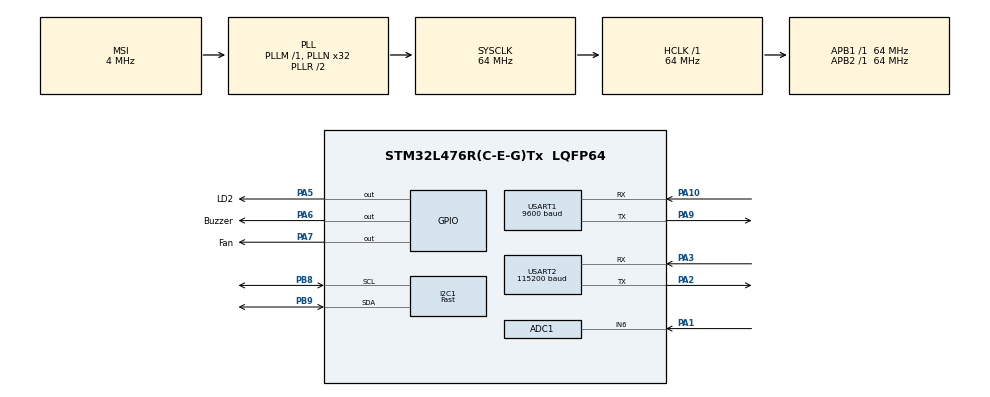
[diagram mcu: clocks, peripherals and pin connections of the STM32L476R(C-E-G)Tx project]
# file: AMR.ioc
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ADC1.Channel-0\#ChannelRegularConversion=ADC_CHANNEL_6
ADC1.ClockPrescaler=ADC_CLOCK_ASYNC_DIV64
ADC1.ContinuousConvMode=ENABLE
ADC1.NbrOfConversionFlag=1
ADC1.OffsetNumber-0\#ChannelRegularConversion=ADC_OFFSET_NONE
ADC1.Rank-0\#ChannelRegularConversion=1
ADC1.SamplingTime-0\#ChannelRegularConversion=ADC_SAMPLETIME_2CYCLES_5
ADC1.master=1
FREERTOS.Tasks01=defaultTask,24,256,StartDefaultTask,Default,NULL,Dynamic,NULL,NULL;NexDisplay,8,256,StartNexDisplay,Default,NULL,Dynamic,NULL,NULL;AccelGyro,8,256,StartAccelGyro,Default,NULL,Dynamic,NULL,NULL;VisEffect,8,256,StartVisEffect,Default,NULL,Dynamic,NULL,NULL;COMM,24,256,StartCOMM,Default,NULL,Dynamic,NULL,NULL
FREERTOS.configMINIMAL_STACK_SIZE=256
FREERTOS.configTOTAL_HEAP_SIZE=6000
FREERTOS.configUSE_NEWLIB_REENTRANT=1
I2C1.I2C_Speed_Mode=I2C_Fast
I2C1.Timing=0x00C12166
Mcu.Family=STM32L4
Mcu.Name=STM32L476R(C-E-G)Tx
Mcu.Package=LQFP64
NVIC.PriorityGroup=NVIC_PRIORITYGROUP_4
NVIC.TIM1_UP_TIM16_IRQn=true\:15\:0\:false\:false\:true\:false\:false\:true\:true
NVIC.TimeBase=TIM1_UP_TIM16_IRQn
NVIC.TimeBaseIP=TIM16
NVIC.USART2_IRQn=true\:5\:0\:false\:true\:true\:1\:true\:true\:true\:true
PA1.Signal=ADCx_IN6
PA10.Mode=Asynchronous
PA10.Signal=USART1_RX
PA13\ (JTMS-SWDIO).Mode=Serial_Wire
PA13\ (JTMS-SWDIO).Signal=SYS_JTMS-SWDIO
PA14\ (JTCK-SWCLK).Mode=Serial_Wire
PA14\ (JTCK-SWCLK).Signal=SYS_JTCK-SWCLK
PA2.Mode=Asynchronous
PA2.Signal=USART2_TX
PA3.Mode=Asynchronous
PA3.Signal=USART2_RX
PA5.GPIO_Label=LD2
PA5.Signal=GPIO_Output
PA6.GPIO_Label=Buzzer
PA6.Signal=GPIO_Output
PA7.GPIO_Label=Fan
PA7.Signal=GPIO_Output
PA9.Mode=Asynchronous
PA9.Signal=USART1_TX
PB8.Mode=I2C
PB8.Signal=I2C1_SCL
PB9.Mode=I2C
PB9.Signal=I2C1_SDA
ProjectManager.HeapSize=0x200
ProjectManager.StackSize=0x400
ProjectManager.TargetToolchain=STM32CubeIDE
RCC.ADCFreq_Value=64000000
RCC.AHBFreq_Value=64000000
RCC.APB1Freq_Value=64000000
RCC.APB1TimFreq_Value=64000000
RCC.APB2Freq_Value=64000000
RCC.APB2TimFreq_Value=64000000
RCC.CortexFreq_Value=64000000
RCC.HCLKFreq_Value=64000000
RCC.HSE_VALUE=8000000
RCC.HSI_VALUE=16000000
RCC.LSE_VALUE=32768
RCC.MSI_VALUE=4000000
RCC.PLLN=32
RCC.PLLSAI1N=32
RCC.SYSCLKFreq_VALUE=64000000
RCC.SYSCLKSource=RCC_SYSCLKSOURCE_PLLCLK
RCC.USBFreq_Value=64000000
RCC.VCOOutputFreq_Value=128000000
SH.ADCx_IN6.0=ADC1_IN6,IN6-Single-Ended
USART1.BaudRate=9600
USART1.VirtualMode-Asynchronous=VM_ASYNC
USART2.BaudRate=115200
USART2.VirtualMode-Asynchronous=VM_ASYNC
VP_FREERTOS_VS_CMSIS_V2.Mode=CMSIS_V2
VP_SYS_VS_tim16.Mode=TIM16
board=custom

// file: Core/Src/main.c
/* USER CODE BEGIN Header */
/**
  ******************************************************************************
  * @file           : main.c
  * @brief          : Main program body
  ******************************************************************************
  * @attention
  *
  * Copyright (c) 2024 STMicroelectronics.
  * All rights reserved.
  *
  * This software is licensed under terms that can be found in the LICENSE file
  * in the root directory of this software component.
  * If no LICENSE file comes with this software, it is provided AS-IS.
  *
  ******************************************************************************
  */
/* USER CODE END Header */
#include "main.h"
#include "cmsis_os.h"

/* USER CODE BEGIN Includes */
#include <stdio.h>
#include <string.h>
#include "mpu6050.h"
/* USER CODE END Includes */

ADC_HandleTypeDef hadc1;

I2C_HandleTypeDef hi2c1;

UART_HandleTypeDef huart1;
UART_HandleTypeDef huart2;

/* Definitions for defaultTask */
osThreadId_t defaultTaskHandle;
const osThreadAttr_t defaultTask_attributes = {
  .name = "defaultTask",
  .stack_size = 256 * 4,
  .priority = (osPriority_t) osPriorityNormal,
};
/* Definitions for NexDisplay */
osThreadId_t NexDisplayHandle;
const osThreadAttr_t NexDisplay_attributes = {
  .name = "NexDisplay",
  .stack_size = 256 * 4,
  .priority = (osPriority_t) osPriorityLow,
};
/* Definitions for AccelGyro */
osThreadId_t AccelGyroHandle;
const osThreadAttr_t AccelGyro_attributes = {
  .name = "AccelGyro",
  .stack_size = 256 * 4,
  .priority = (osPriority_t) osPriorityLow,
};
/* Definitions for VisEffect */
osThreadId_t VisEffectHandle;
const osThreadAttr_t VisEffect_attributes = {
  .name = "VisEffect",
  .stack_size = 256 * 4,
  .priority = (osPriority_t) osPriorityLow,
};
/* Definitions for COMM */
osThreadId_t COMMHandle;
const osThreadAttr_t COMM_attributes = {
  .name = "COMM",
  .stack_size = 256 * 4,
  .priority = (osPriority_t) osPriorityNormal,
};
/* USER CODE BEGIN PV */
uint8_t Fan_bit = 0;

uint8_t RxData[10] = { };
uint8_t Cmd_End[3] = {0xFF,0xFF,0xFF};

float voltage = 0.0;

uint8_t switchvar = 0;

MPU6050_t MPU6050;

HAL_StatusTypeDef status;

/* USER CODE END PV */

void SystemClock_Config(void);
static void MX_GPIO_Init(void);
static void MX_USART1_UART_Init(void);
static void MX_USART2_UART_Init(void);
static void MX_I2C1_Init(void);
static void MX_ADC1_Init(void);
void StartDefaultTask(void *argument);
void StartNexDisplay(void *argument);
void StartAccelGyro(void *argument);
void StartVisEffect(void *argument);
void StartCOMM(void *argument);

static void MX_NVIC_Init(void);

/* USER CODE BEGIN 0 */
void HAL_UART_RxCpltCallback(UART_HandleTypeDef *huart)
{
    UBaseType_t uxSavedInterruptStatus = taskENTER_CRITICAL_FROM_ISR();
    Fan_bit = RxData[0] - 48;

    HAL_UART_Receive_IT(&huart2, RxData, 1);
    taskEXIT_CRITICAL_FROM_ISR(uxSavedInterruptStatus);
}

void NEXTION_SendString (char *ID, char *string)
{
  uint8_t charbuffer[50] = { };
  sprintf((char *)charbuffer, "%s.txt=\"%s\"", ID, string);
  HAL_UART_Transmit (&huart1,(uint8_t *) charbuffer, strlen((const char *)charbuffer), HAL_MAX_DELAY);
  HAL_UART_Transmit (&huart1, Cmd_End, 3, HAL_MAX_DELAY);
}
/* USER CODE END 0 */

int main(void)
{

  /* MCU Configuration--------------------------------------------------------*/

  /* Reset of all peripherals, Initializes the Flash interface and the Systick. */
  HAL_Init();

  /* Configure the system clock */
  SystemClock_Config();

  /* Initialize all configured peripherals */
  MX_GPIO_Init();
  MX_USART1_UART_Init();
  MX_USART2_UART_Init();
  MX_I2C1_Init();
  MX_ADC1_Init();

  /* Initialize interrupts */
  MX_NVIC_Init();
  /* USER CODE BEGIN 2 */
  HAL_UART_Receive_IT(&huart2, RxData, 1);

  while (MPU6050_Init(&hi2c1) == 1);
  /* USER CODE END 2 */

  /* Init scheduler */
  osKernelInitialize();

  /* Create the thread(s) */
  /* creation of defaultTask */
  defaultTaskHandle = osThreadNew(StartDefaultTask, NULL, &defaultTask_attributes);

  /* creation of NexDisplay */
  NexDisplayHandle = osThreadNew(StartNexDisplay, NULL, &NexDisplay_attributes);

  /* creation of AccelGyro */
  AccelGyroHandle = osThreadNew(StartAccelGyro, NULL, &AccelGyro_attributes);

  /* creation of VisEffect */
  VisEffectHandle = osThreadNew(StartVisEffect, NULL, &VisEffect_attributes);

  /* creation of COMM */
  COMMHandle = osThreadNew(StartCOMM, NULL, &COMM_attributes);

  /* Start scheduler */
  osKernelStart();

  /* We should never get here as control is now taken by the scheduler */

  /* Infinite loop */
  while (1)
  {

  }
}

void SystemClock_Config(void)
{
  RCC_OscInitTypeDef RCC_OscInitStruct = {0};
  RCC_ClkInitTypeDef RCC_ClkInitStruct = {0};

  /** Configure the main internal regulator output voltage
  */
  if (HAL_PWREx_ControlVoltageScaling(PWR_REGULATOR_VOLTAGE_SCALE1) != HAL_OK)
  {
    Error_Handler();
  }

  /** Initializes the RCC Oscillators according to the specified parameters
  * in the RCC_OscInitTypeDef structure.
  */
  RCC_OscInitStruct.OscillatorType = RCC_OSCILLATORTYPE_MSI;
  RCC_OscInitStruct.MSIState = RCC_MSI_ON;
  RCC_OscInitStruct.MSICalibrationValue = 0;
  RCC_OscInitStruct.MSIClockRange = RCC_MSIRANGE_6;
  RCC_OscInitStruct.PLL.PLLState = RCC_PLL_ON;
  RCC_OscInitStruct.PLL.PLLSource = RCC_PLLSOURCE_MSI;
  RCC_OscInitStruct.PLL.PLLM = 1;
  RCC_OscInitStruct.PLL.PLLN = 32;
  RCC_OscInitStruct.PLL.PLLP = RCC_PLLP_DIV7;
  RCC_OscInitStruct.PLL.PLLQ = RCC_PLLQ_DIV2;
  RCC_OscInitStruct.PLL.PLLR = RCC_PLLR_DIV2;
  if (HAL_RCC_OscConfig(&RCC_OscInitStruct) != HAL_OK)
  {
    Error_Handler();
  }

  /** Initializes the CPU, AHB and APB buses clocks
  */
  RCC_ClkInitStruct.ClockType = RCC_CLOCKTYPE_HCLK|RCC_CLOCKTYPE_SYSCLK
                              |RCC_CLOCKTYPE_PCLK1|RCC_CLOCKTYPE_PCLK2;
  RCC_ClkInitStruct.SYSCLKSource = RCC_SYSCLKSOURCE_PLLCLK;
  RCC_ClkInitStruct.AHBCLKDivider = RCC_SYSCLK_DIV1;
  RCC_ClkInitStruct.APB1CLKDivider = RCC_HCLK_DIV1;
  RCC_ClkInitStruct.APB2CLKDivider = RCC_HCLK_DIV1;

  if (HAL_RCC_ClockConfig(&RCC_ClkInitStruct, FLASH_LATENCY_3) != HAL_OK)
  {
    Error_Handler();
  }
}

/**
  * @brief NVIC Configuration.
  * @retval None
  */
static void MX_NVIC_Init(void)
{
  /* USART2_IRQn interrupt configuration */
  HAL_NVIC_SetPriority(USART2_IRQn, 5, 0);
  HAL_NVIC_EnableIRQ(USART2_IRQn);
}

static void MX_ADC1_Init(void)
{

  ADC_MultiModeTypeDef multimode = {0};
  ADC_ChannelConfTypeDef sConfig = {0};

  /** Common config
  */
  hadc1.Instance = ADC1;
  hadc1.Init.ClockPrescaler = ADC_CLOCK_ASYNC_DIV64;
  hadc1.Init.Resolution = ADC_RESOLUTION_12B;
  hadc1.Init.DataAlign = ADC_DATAALIGN_RIGHT;
  hadc1.Init.ScanConvMode = ADC_SCAN_DISABLE;
  hadc1.Init.EOCSelection = ADC_EOC_SINGLE_CONV;
  hadc1.Init.LowPowerAutoWait = DISABLE;
  hadc1.Init.ContinuousConvMode = ENABLE;
  hadc1.Init.NbrOfConversion = 1;
  hadc1.Init.DiscontinuousConvMode = DISABLE;
  hadc1.Init.ExternalTrigConv = ADC_SOFTWARE_START;
  hadc1.Init.ExternalTrigConvEdge = ADC_EXTERNALTRIGCONVEDGE_NONE;
  hadc1.Init.DMAContinuousRequests = DISABLE;
  hadc1.Init.Overrun = ADC_OVR_DATA_PRESERVED;
  hadc1.Init.OversamplingMode = DISABLE;
  if (HAL_ADC_Init(&hadc1) != HAL_OK)
  {
    Error_Handler();
  }

  /** Configure the ADC multi-mode
  */
  multimode.Mode = ADC_MODE_INDEPENDENT;
  if (HAL_ADCEx_MultiModeConfigChannel(&hadc1, &multimode) != HAL_OK)
  {
    Error_Handler();
  }

  /** Configure Regular Channel
  */
  sConfig.Channel = ADC_CHANNEL_6;
  sConfig.Rank = ADC_REGULAR_RANK_1;
  sConfig.SamplingTime = ADC_SAMPLETIME_2CYCLES_5;
  sConfig.SingleDiff = ADC_SINGLE_ENDED;
  sConfig.OffsetNumber = ADC_OFFSET_NONE;
  sConfig.Offset = 0;
  if (HAL_ADC_ConfigChannel(&hadc1, &sConfig) != HAL_OK)
  {
    Error_Handler();
  }

}

static void MX_I2C1_Init(void)
{

  hi2c1.Instance = I2C1;
  hi2c1.Init.Timing = 0x00C12166;
  hi2c1.Init.OwnAddress1 = 0;
  hi2c1.Init.AddressingMode = I2C_ADDRESSINGMODE_7BIT;
  hi2c1.Init.DualAddressMode = I2C_DUALADDRESS_DISABLE;
  hi2c1.Init.OwnAddress2 = 0;
  hi2c1.Init.OwnAddress2Masks = I2C_OA2_NOMASK;
  hi2c1.Init.GeneralCallMode = I2C_GENERALCALL_DISABLE;
  hi2c1.Init.NoStretchMode = I2C_NOSTRETCH_DISABLE;
  if (HAL_I2C_Init(&hi2c1) != HAL_OK)
  {
    Error_Handler();
  }

  /** Configure Analogue filter
  */
  if (HAL_I2CEx_ConfigAnalogFilter(&hi2c1, I2C_ANALOGFILTER_ENABLE) != HAL_OK)
  {
    Error_Handler();
  }

  /** Configure Digital filter
  */
  if (HAL_I2CEx_ConfigDigitalFilter(&hi2c1, 0) != HAL_OK)
  {
    Error_Handler();
  }

}

static void MX_USART1_UART_Init(void)
{

  huart1.Instance = USART1;
  huart1.Init.BaudRate = 9600;
  huart1.Init.WordLength = UART_WORDLENGTH_8B;
  huart1.Init.StopBits = UART_STOPBITS_1;
  huart1.Init.Parity = UART_PARITY_NONE;
  huart1.Init.Mode = UART_MODE_TX_RX;
  huart1.Init.HwFlowCtl = UART_HWCONTROL_NONE;
  huart1.Init.OverSampling = UART_OVERSAMPLING_16;
  huart1.Init.OneBitSampling = UART_ONE_BIT_SAMPLE_DISABLE;
  huart1.AdvancedInit.AdvFeatureInit = UART_ADVFEATURE_NO_INIT;
  if (HAL_UART_Init(&huart1) != HAL_OK)
  {
    Error_Handler();
  }

}

static void MX_USART2_UART_Init(void)
{

  huart2.Instance = USART2;
  huart2.Init.BaudRate = 115200;
  huart2.Init.WordLength = UART_WORDLENGTH_8B;
  huart2.Init.StopBits = UART_STOPBITS_1;
  huart2.Init.Parity = UART_PARITY_NONE;
  huart2.Init.Mode = UART_MODE_TX_RX;
  huart2.Init.HwFlowCtl = UART_HWCONTROL_NONE;
  huart2.Init.OverSampling = UART_OVERSAMPLING_16;
  huart2.Init.OneBitSampling = UART_ONE_BIT_SAMPLE_DISABLE;
  huart2.AdvancedInit.AdvFeatureInit = UART_ADVFEATURE_NO_INIT;
  if (HAL_UART_Init(&huart2) != HAL_OK)
  {
    Error_Handler();
  }

}

static void MX_GPIO_Init(void)
{
  GPIO_InitTypeDef GPIO_InitStruct = {0};

  /* GPIO Ports Clock Enable */
  __HAL_RCC_GPIOA_CLK_ENABLE();
  __HAL_RCC_GPIOB_CLK_ENABLE();

  /*Configure GPIO pin Output Level */
  HAL_GPIO_WritePin(GPIOA, LD2_Pin|Buzzer_Pin|Fan_Pin, GPIO_PIN_RESET);

  /*Configure GPIO pins : LD2_Pin Buzzer_Pin Fan_Pin */
  GPIO_InitStruct.Pin = LD2_Pin|Buzzer_Pin|Fan_Pin;
  GPIO_InitStruct.Mode = GPIO_MODE_OUTPUT_PP;
  GPIO_InitStruct.Pull = GPIO_NOPULL;
  GPIO_InitStruct.Speed = GPIO_SPEED_FREQ_LOW;
  HAL_GPIO_Init(GPIOA, &GPIO_InitStruct);

}

void StartDefaultTask(void *argument)
{
  /* USER CODE BEGIN 5 */
  /* Infinite loop */
  for(;;)
  {
      HAL_GPIO_TogglePin(LD2_GPIO_Port, LD2_Pin);

      if(voltage >= 1.5)
      {
    	  //Turn ON Buzzer for 500ms
          HAL_GPIO_WritePin(GPIOA, Buzzer_Pin, GPIO_PIN_SET);
      }
      else
      {
    	  //Turn OFF Buzzer for 500ms
          HAL_GPIO_WritePin(GPIOA, Buzzer_Pin, GPIO_PIN_RESET);
      }

      if(Fan_bit)
      {
    	  //Turn ON Fan
          HAL_GPIO_WritePin(GPIOA, Fan_Pin, GPIO_PIN_SET);
      }
      else
      {
    	  //Turn OFF Fan
          HAL_GPIO_WritePin(GPIOA, Fan_Pin, GPIO_PIN_RESET);
      }
      osDelay(500);

  }
  /* USER CODE END 5 */
}

void StartNexDisplay(void *argument)
{
  /* USER CODE BEGIN StartNexDisplay */
  /* Infinite loop */
  for(;;)
  {
    switchvar++;
    switch(switchvar)
    {
        case 1:
            NEXTION_SendString("t0", "12:00");
            break;
        case 2:
            if(Fan_bit)
            {
                NEXTION_SendString("t1", "Fan ON");
            }
            else
            {
                NEXTION_SendString("t1", "Fan OFF");
            }
            break;
        case 3:
            NEXTION_SendString("t2", "AMR@123");
            break;
        case 4:
            if(voltage >= 1.5)
            {
                NEXTION_SendString("t4", "Battery Charged");

            }
            else
            {
                NEXTION_SendString("t4", "Battery Low");
            }
            break;
        case 5:
            uint8_t Abuffer[50] = { };
            sprintf((char *)Abuffer, "ACC:x=%.2f,y=%.2f,z=%.2f", MPU6050.Ax, MPU6050.Ay, MPU6050.Az);
            NEXTION_SendString("t5",(char *) Abuffer);
            break;
        case 6:
            uint8_t Gbuffer[50] = { };
            sprintf((char *)Gbuffer, "GYRO:x=%.2f,y=%.2f,z=%.2f", MPU6050.Gx, MPU6050.Gy, MPU6050.Gz);
            NEXTION_SendString("t6",(char *) Gbuffer);
            break;
        case 7:
            break;
        default:
            switchvar = 0;
            break;
    }

    osDelay(100);
  }
  /* USER CODE END StartNexDisplay */
}

void StartAccelGyro(void *argument)
{
  /* USER CODE BEGIN StartAccelGyro */
  /* Infinite loop */
  for(;;)
  {
    MPU6050_Read_All(&hi2c1, &MPU6050);
    osDelay(100);
    //Start ADC Conversion
    HAL_ADC_Start(&hadc1);
    // Poll for conversion completion
    if (HAL_ADC_PollForConversion(&hadc1, HAL_MAX_DELAY) == HAL_OK)
    {
       // Get ADC value
       uint32_t adcValue = HAL_ADC_GetValue(&hadc1);
       // Convert ADC value to voltage
       voltage = ((float)(adcValue * 3.3 )/ 4095.0);
    }
   //Stop ADC Conversion
   HAL_ADC_Stop(&hadc1);
  }
  /* USER CODE END StartAccelGyro */
}

void StartVisEffect(void *argument)
{
  for(;;)
  {
    osDelay(1);
  }
}

void StartCOMM(void *argument)
{
  for(;;)
  {
      osDelay(1);
  }
}

void HAL_TIM_PeriodElapsedCallback(TIM_HandleTypeDef *htim)
{
  if (htim->Instance == TIM16) {
    HAL_IncTick();
  }
}

void Error_Handler(void)
{
  __disable_irq();
  while (1)
  {
  }
}
